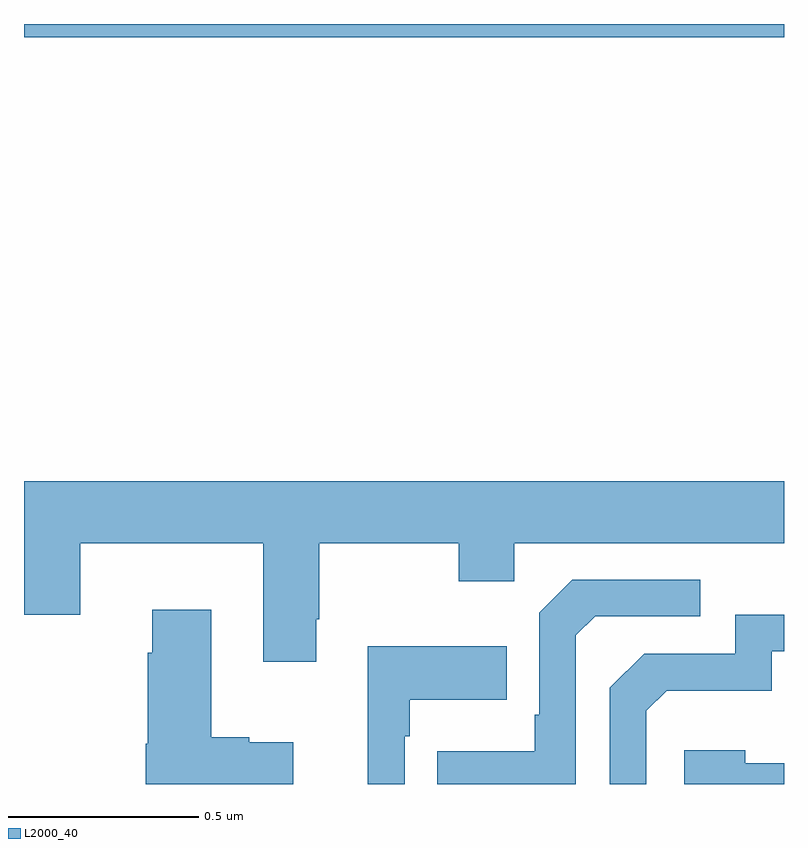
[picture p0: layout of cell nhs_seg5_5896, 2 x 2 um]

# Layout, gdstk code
import gdstk
lib = gdstk.Library(unit=1e-6, precision=1e-09)
def R(c, l, rs):  # rectangles x0, y0, x1, y1
    for r in rs: c.add(gdstk.rectangle(r[:2], r[2:], *l))
def P(c, l, *ps):  # polygons
    for p in ps: c.add(gdstk.Polygon(p, *l))
L2000_40 = (2000, 40)

nhs_seg5_5896 = lib.new_cell('nhs_seg5_5896')
R(nhs_seg5_5896, L2000_40, [(189,852.764,191,852.799)])
P(nhs_seg5_5896, L2000_40, [(189.769,851.233),(189.777,851.233),(189.777,851.432),(190.144,851.432),(190.144,851.333),(190.29,851.333),(190.29,851.432),(191,851.432),(191,851.596),(189,851.596),(189,851.244),(189.148,851.244),(189.148,851.432),(189.629,851.432),(189.629,851.121),(189.769,851.121)],
  [(190.452,851.19),(190.503,851.241),(190.78,851.241),(190.78,851.337),(190.443,851.337),(190.356,851.25),(190.356,850.981),(190.344,850.981),(190.344,850.885),(190.087,850.885),(190.087,850.799),(190.452,850.799)],
  [(189.709,850.909),(189.593,850.909),(189.593,850.922),(189.493,850.922),(189.493,851.257),(189.338,851.257),(189.338,851.144),(189.326,851.144),(189.326,850.905),(189.32,850.905),(189.32,850.799),(189.709,850.799)],
  [(190.638,850.992),(190.691,851.045),(190.968,851.045),(190.968,851.148),(191,851.148),(191,851.244),(190.872,851.244),(190.872,851.142),(190.632,851.142),(190.542,851.052),(190.542,850.799),(190.638,850.799)],
  [(190.002,850.925),(190.015,850.925),(190.015,851.021),(190.271,851.021),(190.271,851.161),(189.905,851.161),(189.905,850.799),(190.002,850.799)],
  [(191,850.854),(190.898,850.854),(190.898,850.888),(190.737,850.888),(190.737,850.799),(191,850.799)])

lib.write_gds('nhs_seg5_5896.gds')
